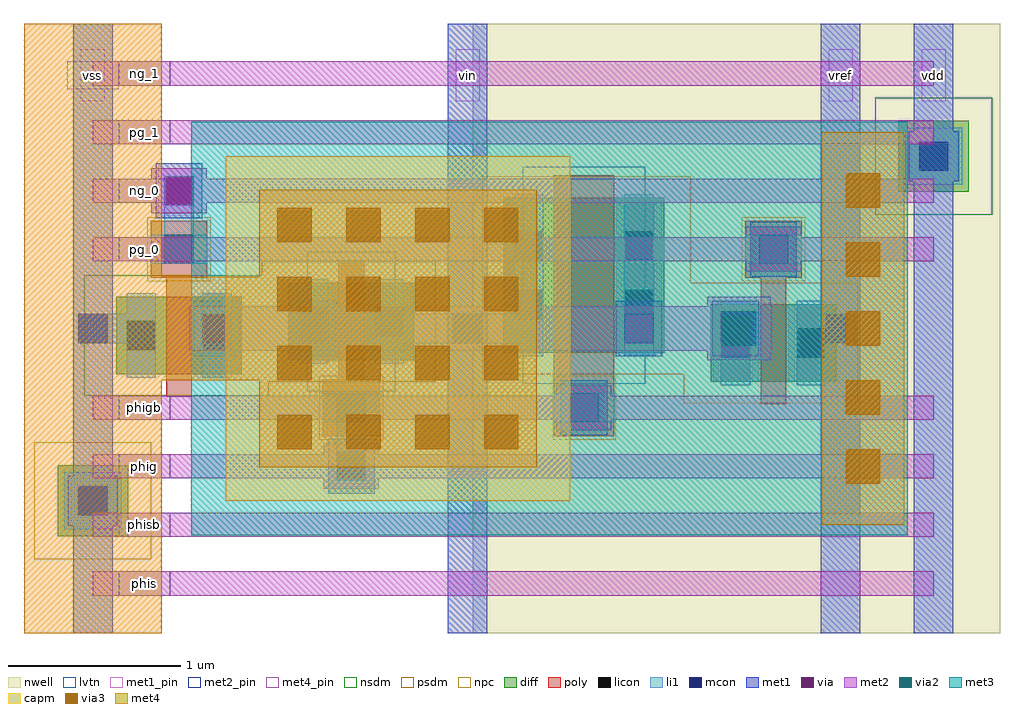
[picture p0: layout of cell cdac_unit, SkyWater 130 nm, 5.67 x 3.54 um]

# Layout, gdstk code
import gdstk
lib = gdstk.Library(unit=1e-6, precision=5e-09)
def R(c, l, rs):  # rectangles x0, y0, x1, y1
    for r in rs: c.add(gdstk.rectangle(r[:2], r[2:], *l))
def A(c, l, x, y, w, h, nx, ny, dx, dy):  # array of equal rectangles
    R(c, l, [(x+i*dx, y+j*dy, x+i*dx+w, y+j*dy+h) for i in range(nx) for j in range(ny)])
nwell = (64, 20)
diff = (65, 20)
poly = (66, 20)
licon = (66, 44)
li1 = (67, 20)
mcon = (67, 44)
met1_pin = (68, 16)
met1 = (68, 20)
via = (68, 44)
met2_pin = (69, 16)
met2 = (69, 20)
via2 = (69, 44)
met3 = (70, 20)
via3 = (70, 44)
met4_pin = (71, 16)
met4 = (71, 20)
capm = (89, 44)
nsdm = (93, 44)
psdm = (94, 20)
npc = (95, 20)
lvtn = (125, 44)

cdac_unit = lib.new_cell('cdac_unit')
R(cdac_unit, nwell, [(2.205,0,5.265,3.54), (2.205,1.13,3.495,2.84), (3.405,1.15,4.495,2.41)])
R(cdac_unit, diff, [(-0.205,0.565,0.205,0.975), (3.585,1.46,4.315,1.91), (0.135,1.505,0.865,1.955), (1.135,1.585,1.865,2.035), (2.385,1.63,3.315,2.53), (4.675,2.565,5.085,2.975)])
R(cdac_unit, poly, [(1.335,1.145,1.665,1.475), (2.675,1.145,3.025,2.66), (3.875,1.33,4.025,2.065), (0.425,1.375,0.575,2.065), (1.425,1.475,1.575,2.165), (0.335,2.065,0.665,2.395), (3.785,2.065,4.115,2.395)])
R(cdac_unit, licon, [(-0.085,0.685,0.085,0.855), (1.415,1.225,1.585,1.395), (2.765,1.225,2.935,1.395), (3.645,1.6,3.815,1.77), (4.085,1.6,4.255,1.77), (0.195,1.645,0.365,1.815), (0.635,1.645,0.805,1.815), (1.195,1.725,1.365,1.895), (1.635,1.725,1.805,1.895), (2.445,1.825,2.615,1.995), (3.085,1.825,3.255,1.995), (0.415,2.145,0.585,2.315), (3.865,2.145,4.035,2.315), (2.445,2.165,2.615,2.335), (3.085,2.165,3.255,2.335), (4.795,2.685,4.965,2.855)])
R(cdac_unit, li1, [(-0.165,0.605,0.165,0.935), (1.415,0.885,1.585,1.395), (1.335,1.225,1.665,1.395), (2.675,1.225,3.025,1.395), (2.765,1.225,2.935,1.395), (3.645,1.44,3.815,1.93), (4.085,1.44,4.255,1.93), (0.195,1.485,0.365,1.975), (0.635,1.485,0.805,1.975), (1.195,1.565,1.365,2.055), (1.635,1.565,1.805,2.055), (2.445,1.61,2.615,2.55), (3.085,1.61,3.255,2.55), (-0.085,1.685,0.275,1.855), (1.72,1.685,2.53,1.855), (4.165,1.685,4.43,1.855), (0.335,2.145,0.665,2.315), (0.415,2.145,0.585,2.655), (3.785,2.145,4.115,2.315), (3.865,2.145,4.035,2.315), (4.715,2.605,5.045,2.935)])
R(cdac_unit, mcon, [(-0.085,0.685,0.085,0.855), (1.415,0.885,1.585,1.055), (2.765,1.225,2.935,1.395), (-0.085,1.685,0.085,1.855), (0.635,1.685,0.805,1.855), (1.195,1.685,1.365,1.855), (2.09,1.685,2.26,1.855), (3.085,1.685,3.255,1.855), (3.645,1.685,3.815,1.855), (4.255,1.685,4.425,1.855), (3.865,2.145,4.035,2.315), (0.415,2.485,0.585,2.655), (4.795,2.685,4.965,2.855)])
R(cdac_unit, met1_pin, [(-0.07,3.09,0.07,3.39), (2.105,3.09,2.245,3.39), (4.27,3.09,4.41,3.39), (4.81,3.09,4.95,3.39)])
R(cdac_unit, met1, [(-0.115,0,0.115,3.54), (2.06,0,2.29,3.54), (4.225,0,4.455,3.54), (4.765,0,4.995,3.54), (-0.145,0.625,0.145,0.915), (1.365,0.81,1.635,1.13), (2.715,1.15,2.985,1.47), (0.585,1.61,0.855,1.93), (1.145,1.61,1.415,1.93), (3.035,1.61,3.305,1.93), (3.595,1.61,3.865,1.93), (-0.115,1.63,0.115,1.91), (2.06,1.63,2.29,1.91), (4.225,1.63,4.455,1.91), (3.815,2.07,4.085,2.39), (0.365,2.41,0.635,2.73), (4.735,2.625,5.025,2.915)])
R(cdac_unit, via, [(1.425,0.895,1.575,1.045), (2.775,1.235,2.925,1.385), (0.645,1.695,0.795,1.845), (1.205,1.695,1.355,1.845), (3.095,1.695,3.245,1.845), (3.655,1.695,3.805,1.845), (3.875,2.155,4.025,2.305), (0.425,2.495,0.575,2.645)])
A(cdac_unit, met2_pin, 0.15, 0.22, 0.3, 0.14, 1, 4, 0, 0.34)
A(cdac_unit, met2_pin, 0.15, 2.16, 0.3, 0.14, 1, 4, 0, 0.34)
A(cdac_unit, met2, 0, 0.22, 4.88, 0.14, 1, 4, 0, 0.34)
A(cdac_unit, met2, 0, 2.16, 4.88, 0.14, 1, 4, 0, 0.34)
R(cdac_unit, met2, [(1.34,0.84,1.66,1.1), (2.69,1.18,3.01,1.44), (3.565,1.585,3.935,1.955), (0.56,1.64,3.94,1.9), (0.56,1.64,0.88,1.9), (1.12,1.64,1.44,1.9), (3.01,1.64,3.33,1.9), (3.57,1.64,3.89,1.9), (3.79,2.1,4.11,2.36), (0.34,2.44,0.66,2.7)])
R(cdac_unit, via2, [(3.65,1.67,3.85,1.87)])
R(cdac_unit, met3, [(0.57,0.57,4.73,2.97), (3.585,1.605,3.915,1.935)])
A(cdac_unit, via3, 4.37, 0.87, 0.2, 0.2, 1, 5, 0, 0.4)
A(cdac_unit, via3, 1.07, 1.07, 0.2, 0.2, 4, 4, 0.4, 0.4)
R(cdac_unit, met4_pin, [(-0.15,3.16,0.15,3.32)])
R(cdac_unit, met4, [(-0.4,0,0.4,3.54), (4.23,0.63,4.71,2.91), (0.965,0.965,2.575,2.575), (0.005,1.47,1.165,2.07)])
R(cdac_unit, capm, [(0.77,0.77,2.77,2.77)])
R(cdac_unit, nsdm, [(-0.05,1.38,0.02,2.08), (0.01,1.38,0.99,2.08), (0.98,1.38,1.02,2.16), (1.01,1.46,1.99,2.16), (4.54,2.43,5.22,3.11)])
R(cdac_unit, psdm, [(-0.34,0.43,0.34,1.11), (3.43,1.335,3.47,2.655), (3.46,1.335,4.44,2.035), (2.26,1.505,3.44,2.655)])
R(cdac_unit, npc, [(1.315,1.125,1.685,1.495), (2.665,1.125,3.035,1.495), (0.315,2.045,0.685,2.415), (3.765,2.045,4.135,2.415)])
R(cdac_unit, lvtn, [(1.245,1.405,1.755,2.215), (2.495,1.45,3.205,2.71)])
cdac_unit.add(gdstk.Label('phis', (0.3,0.29), layer=69, texttype=5))
cdac_unit.add(gdstk.Label('phisb', (0.3,0.63), layer=69, texttype=5))
cdac_unit.add(gdstk.Label('phig', (0.3,0.97), layer=69, texttype=5))
cdac_unit.add(gdstk.Label('phigb', (0.3,1.31), layer=69, texttype=5))
cdac_unit.add(gdstk.Label('pg_0', (0.3,2.23), layer=69, texttype=5))
cdac_unit.add(gdstk.Label('ng_0', (0.3,2.57), layer=69, texttype=5))
cdac_unit.add(gdstk.Label('pg_1', (0.3,2.91), layer=69, texttype=5))
cdac_unit.add(gdstk.Label('ng_1', (0.3,3.25), layer=69, texttype=5))
cdac_unit.add(gdstk.Label('vss', (0,3.24), layer=68, texttype=5))
cdac_unit.add(gdstk.Label('vin', (2.175,3.24), layer=68, texttype=5))
cdac_unit.add(gdstk.Label('vref', (4.34,3.24), layer=68, texttype=5))
cdac_unit.add(gdstk.Label('vdd', (4.88,3.24), layer=68, texttype=5))
cdac_unit.add(gdstk.Label('top', (0,3.24), layer=71, texttype=5))

lib.write_gds('cdac_unit.gds')
